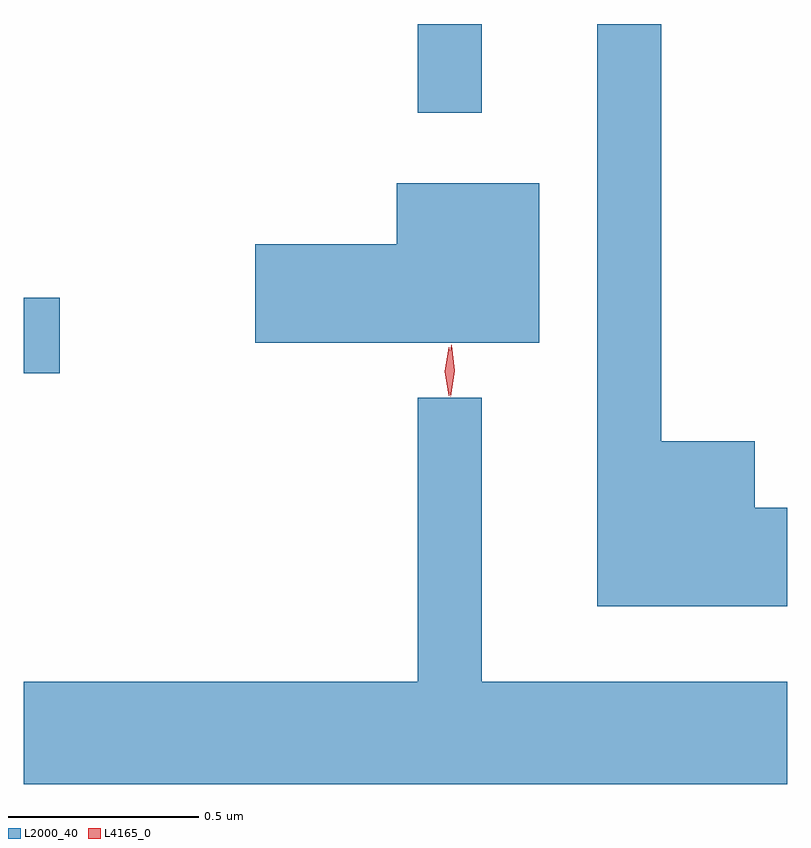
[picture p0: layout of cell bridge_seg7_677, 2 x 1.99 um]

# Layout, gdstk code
import gdstk
lib = gdstk.Library(unit=1e-6, precision=1e-09)
def R(c, l, rs):  # rectangles x0, y0, x1, y1
    for r in rs: c.add(gdstk.rectangle(r[:2], r[2:], *l))
def P(c, l, *ps):  # polygons
    for p in ps: c.add(gdstk.Polygon(p, *l))
L2000_40 = (2000, 40)
L4165_0 = (4165, 0)

bridge_seg7_677 = lib.new_cell('bridge_seg7_677')
R(bridge_seg7_677, L2000_40, [(922.869,1719.831,922.964,1720.029), (923.901,1720.513,924.069,1720.746)])
P(bridge_seg7_677, L2000_40, [(924.869,1719.479),(924.784,1719.479),(924.784,1719.654),(924.539,1719.654),(924.539,1720.746),(924.371,1720.746),(924.371,1719.221),(924.869,1719.221)],
  [(924.219,1720.329),(923.846,1720.329),(923.846,1720.169),(923.476,1720.169),(923.476,1719.911),(924.219,1719.911)],
  [(924.869,1719.024),(924.069,1719.024),(924.069,1719.768),(923.901,1719.768),(923.901,1719.024),(922.869,1719.024),(922.869,1718.756),(924.869,1718.756)])
P(bridge_seg7_677, L4165_0, [(923.987,1719.77),(923.978,1719.838),(923.989,1719.905),(923.989,1719.906),(923.99,1719.905),(923.998,1719.838),(923.988,1719.77),(923.988,1719.77)],
  [(923.982,1719.773),(923.982,1719.773),(923.972,1719.836),(923.982,1719.899),(923.982,1719.9),(923.983,1719.899),(923.992,1719.836),(923.983,1719.773)])

lib.write_gds('bridge_seg7_677.gds')
